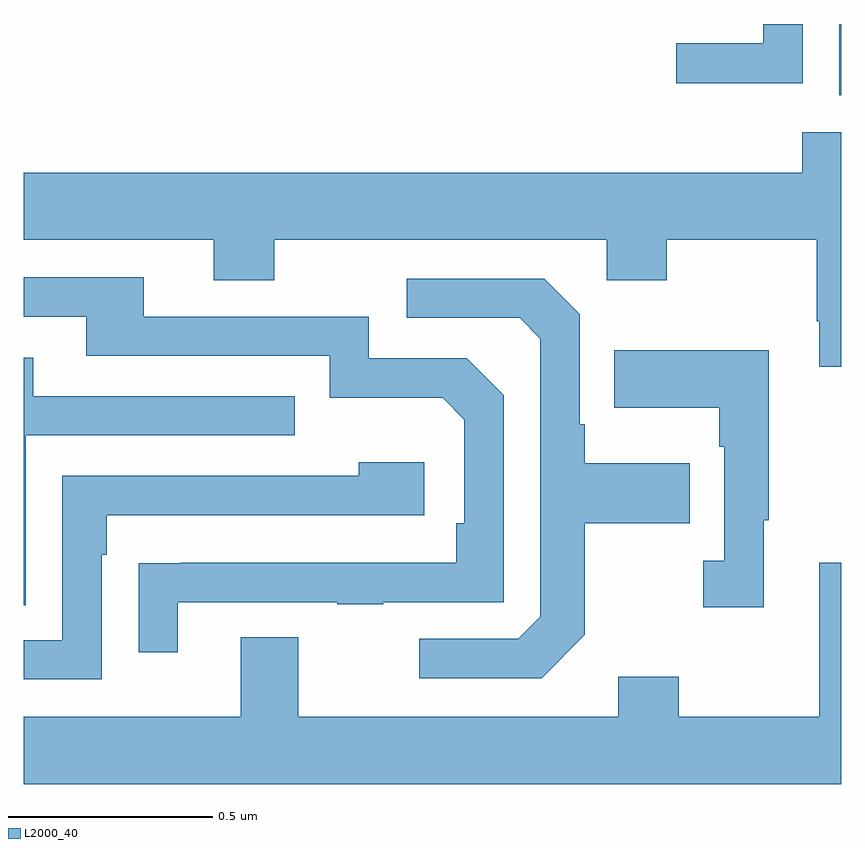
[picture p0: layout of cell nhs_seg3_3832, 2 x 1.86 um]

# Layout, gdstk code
import gdstk
lib = gdstk.Library(unit=1e-6, precision=1e-09)
def R(c, l, rs):  # rectangles x0, y0, x1, y1
    for r in rs: c.add(gdstk.rectangle(r[:2], r[2:], *l))
def P(c, l, *ps):  # polygons
    for p in ps: c.add(gdstk.Polygon(p, *l))
L2000_40 = (2000, 40)

nhs_seg3_3832 = lib.new_cell('nhs_seg3_3832')
R(nhs_seg3_3832, L2000_40, [(159.995,745.226,160,745.4)])
P(nhs_seg3_3832, L2000_40, [(159.906,745.4),(159.81,745.4),(159.81,745.353),(159.597,745.353),(159.597,745.255),(159.906,745.255)],
  [(160,745.135),(159.905,745.135),(159.905,745.036),(158,745.036),(158,744.872),(158.465,744.872),(158.465,744.773),(158.613,744.773),(158.613,744.872),(159.426,744.872),(159.426,744.773),(159.573,744.773),(159.573,744.872),(159.94,744.872),(159.94,744.673),(159.947,744.673),(159.947,744.561),(160,744.561)],
  [(158.377,743.985),(158.767,743.985),(158.767,743.98),(158.879,743.98),(158.879,743.985),(159.174,743.985),(159.174,744.492),(159.084,744.582),(158.844,744.582),(158.844,744.684),(158.293,744.684),(158.293,744.78),(158,744.78),(158,744.684),(158.153,744.684),(158.153,744.588),(158.748,744.588),(158.748,744.485),(159.025,744.485),(159.078,744.432),(159.078,744.178),(159.058,744.178),(159.058,744.081),(158.383,744.081),(158.383,744.08),(158.281,744.08),(158.281,743.862),(158.377,743.862)],
  [(159.373,743.905),(159.373,744.178),(159.629,744.178),(159.629,744.325),(159.373,744.325),(159.373,744.421),(159.36,744.421),(159.36,744.69),(159.273,744.777),(158.937,744.777),(158.937,744.681),(159.213,744.681),(159.264,744.63),(159.264,743.949),(159.21,743.895),(158.967,743.895),(158.967,743.799),(159.267,743.799)],
  [(159.811,744.185),(159.823,744.185),(159.823,744.601),(159.445,744.601),(159.445,744.461),(159.702,744.461),(159.702,744.365),(159.714,744.365),(159.714,744.086),(159.663,744.086),(159.663,743.973),(159.811,743.973)],
  [(158.004,744.393),(158.663,744.393),(158.663,744.489),(158.023,744.489),(158.023,744.583),(158,744.583),(158,743.977),(158.004,743.977)],
  [(158.19,744.101),(158.203,744.101),(158.203,744.198),(158.98,744.198),(158.98,744.328),(158.819,744.328),(158.819,744.294),(158.094,744.294),(158.094,743.892),(158,743.892),(158,743.796),(158.19,743.796)],
  [(160,744.082),(159.947,744.082),(159.947,743.704),(159.603,743.704),(159.603,743.803),(159.455,743.803),(159.455,743.704),(158.671,743.704),(158.671,743.899),(158.531,743.899),(158.531,743.704),(158,743.704),(158,743.54),(160,743.54)])

lib.write_gds('nhs_seg3_3832.gds')
